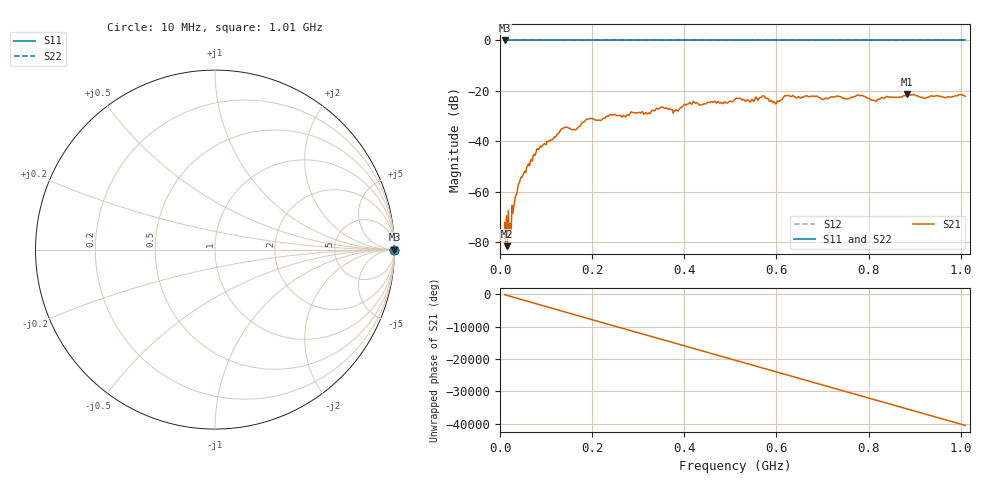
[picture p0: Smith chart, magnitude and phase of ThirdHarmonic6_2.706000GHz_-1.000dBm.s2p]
! 8/17/2025 6:30:43 AM
! C:\ANRITSUVNA\TEMP\TEMP.S2P
! CHANNEL.1
! TR.MEASUREMENT
! RAW.DATA
! RF.CORRECTION.OFF
! AVERAGING.OFF
! IF.BANDWIDTH: 5KHZ
! SWEEPTYPE:  FREQ.SWEEP(Linear)
! Reference Plane Port Info
! PORT:  PORT1  PORT2
! DISTANCE:  0  m  0  m
! TIME:  0  s  0  s
! PHASE.OFFSET:  0  deg.  0  deg.
! LOSS:  0  dB  0  dB
! REF.LOSS:  0  dB  0  dB
! REF.FREQ:  0  Hz  0  Hz
! Power Info
! POWER:  -20  dBm  -20  dBm
! EFF.POWER:  -20  dBm  -20  dBm
! SOURCE.ATTEN:  0  dB  0  dB
! TEST.ATTEN:  0  dB  0  dB
# GHZ S RI R 50.0
! FREQ.GHZ  S11RE  S11IM  S21RE  S21IM  S12RE  S12IM  S22RE  S22IM
!; PortSelection: Port_12
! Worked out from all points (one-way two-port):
!   501 points, 10 MHz to 1.01 GHz, reference 50 ohm
!   highest |S21| = -21.40 dB at 884 MHz (marker M1); lowest = -81.6 dB at 16 MHz (marker M2)
!   lowest |S11| = 0.0 dB at 10 MHz (marker M3)
!   |S11| at or under -10 dB: nowhere
!   |S22| runs from 0.0 to 0.0 dB; largest |S21 - S12| = 1.1
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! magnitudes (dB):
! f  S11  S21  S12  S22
! 10 MHz  0.0  -72.2  0.0  0.0
! 16 MHz  0.0  -81.6  0.0  0.0
! 24 MHz  0.0  -77.1  0.0  0.0
! 30 MHz  0.0  -66.1  0.0  0.0
! 44 MHz  0.0  -55.1  0.0  0.0
! 84 MHz  0.0  -43.2  0.0  0.0
! 136 MHz  0.0  -35.0  0.0  0.0
! 162 MHz  0.0  -35.3  0.0  0.0
! 178 MHz  0.0  -32.6  0.0  0.0
! 344 MHz  0.0  -27.3  0.0  0.0
! 380 MHz  0.0  -27.9  0.0  0.0
! 416 MHz  0.0  -25.4  0.0  0.0
! 510 MHz  0.0  -23.3  0.0  0.0
! 570 MHz  0.0  -22.0  0.0  0.0
! 596 MHz  0.0  -24.5  0.0  0.0
! 622 MHz  0.0  -22.0  0.0  0.0
! 678 MHz  0.0  -22.1  0.0  0.0
! 782 MHz  0.0  -21.9  0.0  0.0
! 814 MHz  0.0  -24.0  0.0  0.0
! 844 MHz  0.0  -22.5  0.0  0.0
! 884 MHz  0.0  -21.4  0.0  0.0
! 1.01 GHz  0.0  -22.1  0.0  0.0
